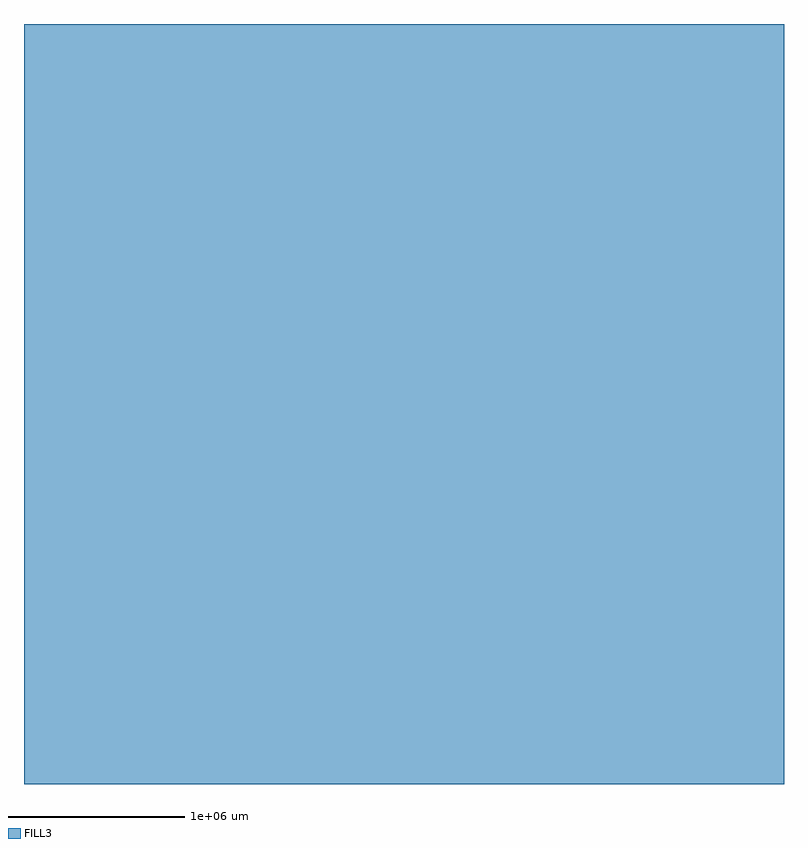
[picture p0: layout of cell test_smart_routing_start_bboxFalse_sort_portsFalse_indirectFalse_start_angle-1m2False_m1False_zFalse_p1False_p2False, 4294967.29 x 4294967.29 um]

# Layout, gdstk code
import gdstk
lib = gdstk.Library(unit=1e-6, precision=1e-09)
def R(c, l, rs):  # rectangles x0, y0, x1, y1
    for r in rs: c.add(gdstk.rectangle(r[:2], r[2:], *l))
FILL3 = (10, 0)

test_smart_routing_start = lib.new_cell('test_smart_routing_start_bboxFalse_sort_portsFalse_indirectFalse_start_angle-1m2False_m1False_zFalse_p1False_p2False')
R(test_smart_routing_start, FILL3, [(0.001,0.001,4294967.295,4294967.295), (0.001,0.001,4294967.295,4294967.295), (0.001,0.001,4294967.295,4294967.295), (0.001,0.001,4294967.295,4294967.295), (0.001,0.001,4294967.295,4294967.295), (0.001,0.001,4294967.295,4294967.295), (0.001,0.001,4294967.295,4294967.295), (0.001,0.001,4294967.295,4294967.295)])

lib.write_gds('test_smart_routing_start_bboxFalse_sort_portsFalse_indirectFalse_start_angle-1m2False_m1False_zFalse_p1False_p2False.gds')
